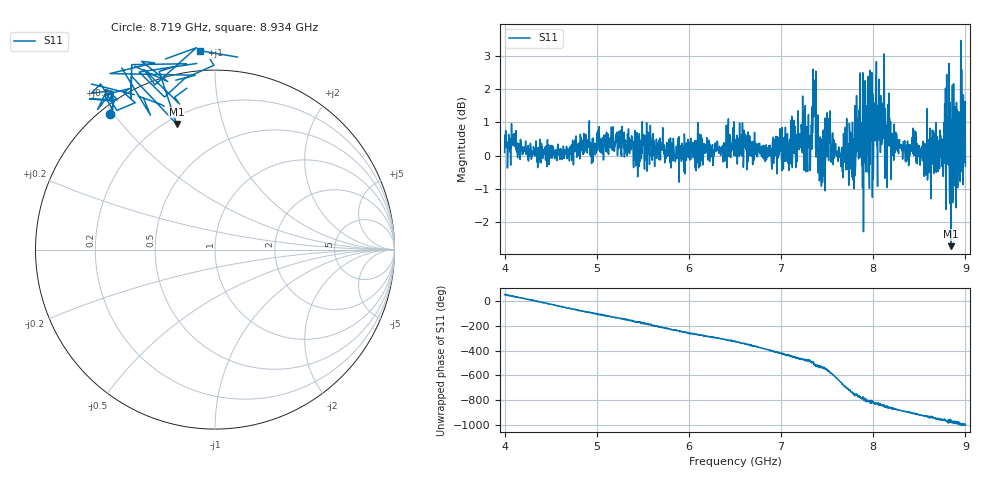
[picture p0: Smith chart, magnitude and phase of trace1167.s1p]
! Created with skrf 1.8.0 (http://scikit-rf.org).
# Hz S RI R 50.0
!freq ReS11 ImS11
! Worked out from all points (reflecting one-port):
!   1601 points, 4 GHz to 9 GHz, reference 50 ohm
!   lowest |S11| = -2.7 dB at 8.844 GHz (marker M1), VSWR 6.46, Z = 11.8 + j35.7 ohm
!   phase of S11 starts at 51 deg and turns -1048 deg over the sweep
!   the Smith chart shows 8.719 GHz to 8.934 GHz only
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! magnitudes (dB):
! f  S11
! 4 GHz  0.1
! 4.625 GHz  -0.1
! 5.25 GHz  0.2
! 5.875 GHz  0.2
! 6.5 GHz  0.4
! 7.038 GHz  0.0
! 7.125 GHz  0.3
! 7.238 GHz  0.2
! 7.294 GHz  0.7
! 7.362 GHz  1.8
! 7.428 GHz  -0.3
! 7.509 GHz  0.8
! 7.65 GHz  -0.3
! 7.75 GHz  -0.4
! 7.791 GHz  -1.0
! 7.844 GHz  1.4
! 7.962 GHz  2.6
! 7.978 GHz  0.6
! 8.05 GHz  1.5
! 8.375 GHz  0.1
! 8.441 GHz  0.0
! 8.612 GHz  0.5
! 8.656 GHz  0.4
! 8.738 GHz  0.4
! 8.797 GHz  2.4
! 8.844 GHz  -2.7
! 8.953 GHz  -0.5
! 9 GHz  -0.3
